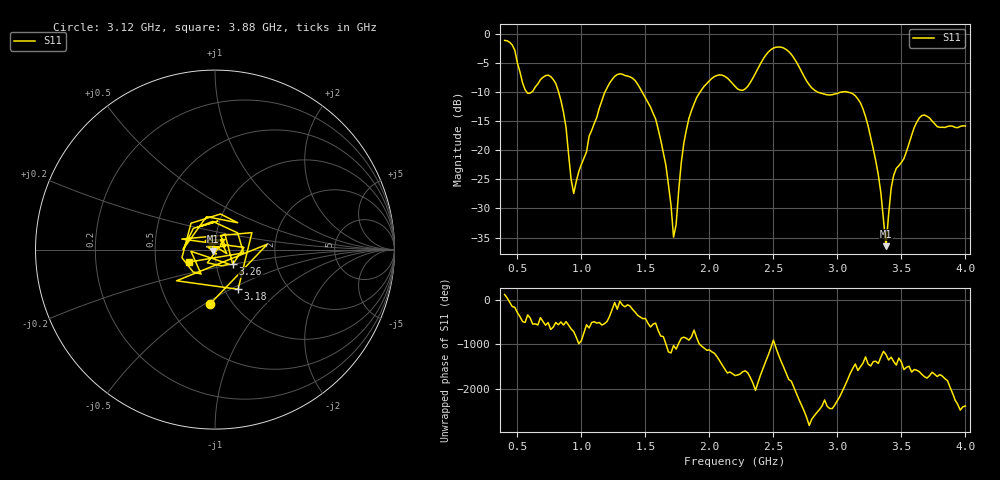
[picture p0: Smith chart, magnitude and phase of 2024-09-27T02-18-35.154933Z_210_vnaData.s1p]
!Created with skrf (http://scikit-rf.org).
# Hz S RI R 50.0
!freq ReS11 ImS11
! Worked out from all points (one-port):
!   181 points, 400 MHz to 4 GHz, reference 50 ohm
!   lowest |S11| = -36.5 dB at 3.38 GHz (marker M1), VSWR 1.03, Z = 48.8 - j0.863 ohm
!   |S11| at or under -10 dB: 821.8 MHz to 1.184 GHz (362.1 MHz wide, 36.1 % of centre); 1.475 GHz to 1.928 GHz (452.9 MHz wide, 26.6 % of centre); 3.08 GHz to end of sweep (the widest 3 of 5)
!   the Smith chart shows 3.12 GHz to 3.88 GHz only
!   S11 on the Smith chart (normalised r, x): 3.12 GHz: 0.79, -0.53; 3.18 GHz: 1.16, -0.55; 3.26 GHz: 1.20, -0.20; 3.88 GHz: 0.74, -0.11
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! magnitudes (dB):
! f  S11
! 400 MHz  -1.1
! 580 MHz  -10.2
! 740 MHz  -7.1
! 860 MHz  -13.5
! 940 MHz  -27.4
! 1.18 GHz  -10.2
! 1.3 GHz  -6.9
! 1.58 GHz  -14.6
! 1.66 GHz  -22.6
! 1.72 GHz  -34.9
! 1.76 GHz  -26.9
! 1.82 GHz  -16.5
! 1.9 GHz  -11.0
! 2.2 GHz  -9.0
! 2.5 GHz  -2.5
! 2.66 GHz  -4.1
! 2.84 GHz  -10.0
! 3.1 GHz  -10.1
! 3.12 GHz  -10.3
! 3.18 GHz  -11.8
! 3.26 GHz  -17.8
! 3.32 GHz  -24.3
! 3.38 GHz  -36.5
! 3.44 GHz  -24.3
! 3.56 GHz  -18.8
! 3.66 GHz  -14.0
! 3.88 GHz  -15.8
! 4 GHz  -15.8
